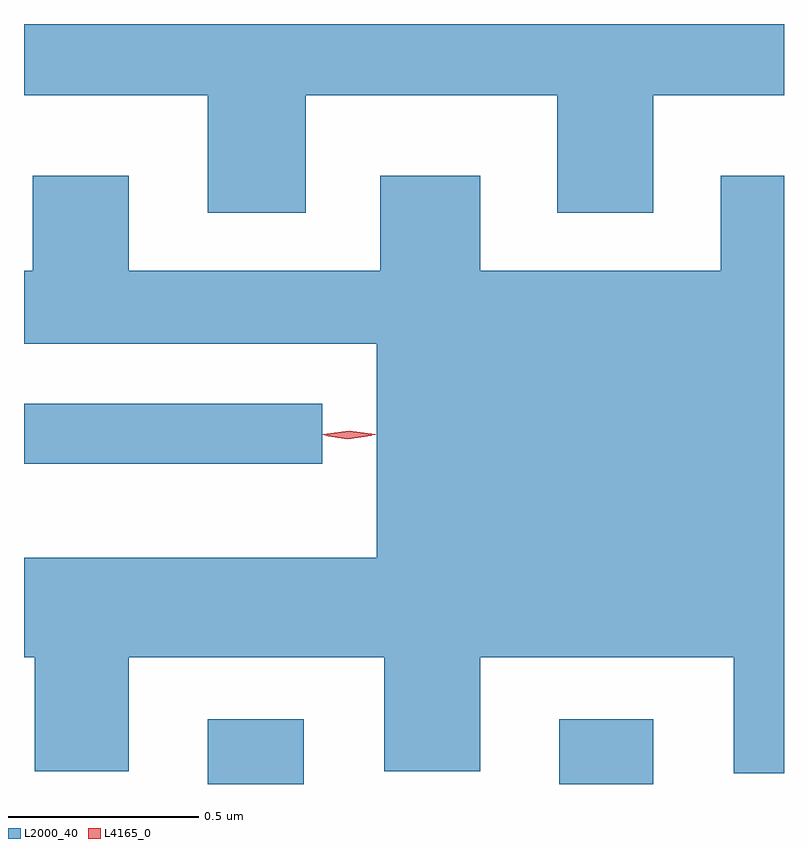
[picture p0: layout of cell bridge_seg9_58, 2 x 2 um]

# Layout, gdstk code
import gdstk
lib = gdstk.Library(unit=1e-6, precision=1e-09)
def R(c, l, rs):  # rectangles x0, y0, x1, y1
    for r in rs: c.add(gdstk.rectangle(r[:2], r[2:], *l))
def P(c, l, *ps):  # polygons
    for p in ps: c.add(gdstk.Polygon(p, *l))
L2000_40 = (2000, 40)
L4165_0 = (4165, 0)

bridge_seg9_58 = lib.new_cell('bridge_seg9_58')
R(bridge_seg9_58, L2000_40, [(1500.826,1990.003,1501.079,1990.174), (1501.751,1990.003,1501.999,1990.174), (1500.343,1990.846,1501.128,1991.004)])
P(bridge_seg9_58, L2000_40, [(1501.084,1991.816),(1501.746,1991.816),(1501.746,1991.506),(1501.999,1991.506),(1501.999,1991.816),(1502.343,1991.816),(1502.343,1992.003),(1500.343,1992.003),(1500.343,1991.816),(1500.826,1991.816),(1500.826,1991.506),(1501.084,1991.506)],
  [(1502.343,1991.604),(1502.176,1991.604),(1502.176,1991.354),(1501.544,1991.354),(1501.544,1991.604),(1501.281,1991.604),(1501.281,1991.354),(1500.619,1991.354),(1500.619,1991.604),(1500.366,1991.604),(1500.366,1991.354),(1500.343,1991.354),(1500.343,1991.161),(1501.271,1991.161),(1501.271,1990.599),(1500.343,1990.599),(1500.343,1990.336),(1500.371,1990.336),(1500.371,1990.036),(1500.619,1990.036),(1500.619,1990.336),(1501.291,1990.336),(1501.291,1990.036),(1501.544,1990.036),(1501.544,1990.336),(1502.211,1990.336),(1502.211,1990.031),(1502.343,1990.031)])
P(bridge_seg9_58, L4165_0, [(1501.199,1990.913),(1501.13,1990.922),(1501.129,1990.923),(1501.13,1990.923),(1501.199,1990.933),(1501.267,1990.923),(1501.268,1990.923),(1501.267,1990.922)],
  [(1501.195,1990.91),(1501.134,1990.919),(1501.133,1990.92),(1501.134,1990.92),(1501.195,1990.93),(1501.257,1990.92),(1501.258,1990.92),(1501.257,1990.919)])

lib.write_gds('bridge_seg9_58.gds')
